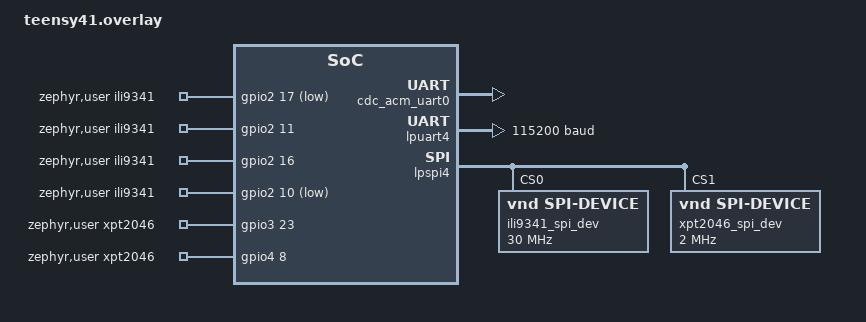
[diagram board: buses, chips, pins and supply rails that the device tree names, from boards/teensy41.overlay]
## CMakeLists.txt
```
# SPDX-License-Identifier: Apache-2.0

cmake_minimum_required(VERSION 3.20.0)
find_package(Zephyr REQUIRED HINTS $ENV{ZEPHYR_BASE})
project(ili9341_touch)

#include(../common/common.cmake)
FILE(GLOB app_sources src/*.cpp  app_sources src/*.c app_sources ../common/src/*.cpp)
target_include_directories(app PRIVATE ../common/include )
target_sources(app PRIVATE ${app_sources})
```

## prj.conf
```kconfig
#CONFIG_STDOUT_CONSOLE=y
CONFIG_USB_DEVICE_STACK=y
CONFIG_USB_DEVICE_PRODUCT="Teensy Serial"
CONFIG_USB_DEVICE_VID=0x16c0
CONFIG_USB_DEVICE_PID=0x0483
CONFIG_LOG=y
CONFIG_USB_DRIVER_LOG_LEVEL_ERR=y
CONFIG_USB_DEVICE_LOG_LEVEL_ERR=y
CONFIG_SERIAL=y

CONFIG_USB_CDC_ACM=y
CONFIG_USB_CDC_ACM_RINGBUF_SIZE=512
CONFIG_UART_LINE_CTRL=y
CONFIG_CDC_ACM_DTE_RATE_CALLBACK_SUPPORT=y


CONFIG_UART_INTERRUPT_DRIVEN=y
CONFIG_USB_DEVICE_INITIALIZE_AT_BOOT=n
CONFIG_GPIO=y
CONFIG_SPI=y
#CONFIG_SPI_ASYNC=y
CONFIG_POLL=y
CONFIG_STATIC_INIT_GNU=y

# Enable uart driver
CONFIG_SERIAL=y

# Console
CONFIG_CONSOLE=y
CONFIG_UART_CONSOLE=y
CONFIG_USB_CDC_ACM_LOG_LEVEL_DBG=n
#CONFIG_USB_DEVICE_STACK_NEXT=y
#CONFIG_SPI_LOG_LEVEL_DBG=y

# INPUT
CONFIG_INPUT=y
```

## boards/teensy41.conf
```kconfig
#CONFIG_STDOUT_CONSOLE=y
CONFIG_USB_DEVICE_STACK=y
CONFIG_USB_DEVICE_PRODUCT="Teensy Serial"
CONFIG_USB_DEVICE_VID=0x16c0
CONFIG_USB_DEVICE_PID=0x0483
CONFIG_LOG=y
CONFIG_USB_DRIVER_LOG_LEVEL_ERR=y
CONFIG_USB_DEVICE_LOG_LEVEL_ERR=y
CONFIG_SERIAL=y

CONFIG_USB_CDC_ACM=y
CONFIG_USB_CDC_ACM_RINGBUF_SIZE=512
CONFIG_UART_LINE_CTRL=y
CONFIG_CDC_ACM_DTE_RATE_CALLBACK_SUPPORT=y


CONFIG_UART_INTERRUPT_DRIVEN=y
CONFIG_USB_DEVICE_INITIALIZE_AT_BOOT=n
CONFIG_GPIO=y
CONFIG_SPI=y
#CONFIG_SPI_ASYNC=y
CONFIG_POLL=y
CONFIG_STATIC_INIT_GNU=y

# Enable uart driver
CONFIG_SERIAL=y

# Console
CONFIG_CONSOLE=y
CONFIG_UART_CONSOLE=y
CONFIG_USB_CDC_ACM_LOG_LEVEL_DBG=n
#CONFIG_USB_DEVICE_STACK_NEXT=y
CONFIG_SPI_LOG_LEVEL_DBG=y

# INPUT
CONFIG_INPUT=y
```

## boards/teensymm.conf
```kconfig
#CONFIG_STDOUT_CONSOLE=y
CONFIG_USB_DEVICE_STACK=y
CONFIG_USB_DEVICE_PRODUCT="Teensy Serial"
CONFIG_USB_DEVICE_VID=0x16c0
CONFIG_USB_DEVICE_PID=0x0483
CONFIG_LOG=y
CONFIG_USB_DRIVER_LOG_LEVEL_ERR=y
CONFIG_USB_DEVICE_LOG_LEVEL_ERR=y
CONFIG_SERIAL=y

CONFIG_USB_CDC_ACM=y
CONFIG_USB_CDC_ACM_RINGBUF_SIZE=512
CONFIG_UART_LINE_CTRL=y
CONFIG_CDC_ACM_DTE_RATE_CALLBACK_SUPPORT=y


CONFIG_UART_INTERRUPT_DRIVEN=y
CONFIG_USB_DEVICE_INITIALIZE_AT_BOOT=n
CONFIG_GPIO=y
CONFIG_SPI=y
CONFIG_SPI_ASYNC=y
CONFIG_POLL=y
CONFIG_STATIC_INIT_GNU=y

# Enable uart driver
CONFIG_SERIAL=y

# Console
CONFIG_CONSOLE=y
CONFIG_UART_CONSOLE=y
CONFIG_USB_CDC_ACM_LOG_LEVEL_DBG=n
#CONFIG_USB_DEVICE_STACK_NEXT=y
#CONFIG_SPI_LOG_LEVEL_DBG=y

# INPUT
CONFIG_INPUT=y
```

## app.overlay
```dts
/*
 * Copyright (c) 2021 Nordic Semiconductor ASA
 *
 * SPDX-License-Identifier: Apache-2.0
 */

&zephyr_udc0 {
	cdc_acm_uart0 {
		compatible = "zephyr,cdc-acm-uart";
		label = "Zephyr USB CDC-ACM";
	};
};


&lpuart4 {
	current-speed = <115200>;
	status = "okay";
};
```

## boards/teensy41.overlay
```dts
/*
 * Copyright (c) 2021 Nordic Semiconductor ASA
 *
 * SPDX-License-Identifier: Apache-2.0
 */

&zephyr_udc0 {
	cdc_acm_uart0 {
		compatible = "zephyr,cdc-acm-uart";
		label = "Zephyr USB CDC-ACM";
	};
};

/ {
	aliases {
	};
	zephyr,user {
		ili9341-gpios = <&gpio2 17 GPIO_ACTIVE_LOW>,	/* CS PIN 7 4.1 */
						<&gpio2 11 GPIO_ACTIVE_HIGH>,	/* DC PIN 9 4.1 */
						<&gpio2 16 GPIO_ACTIVE_HIGH>,	/* RST Pin 8 */
						<&gpio2 10 GPIO_ACTIVE_LOW>;	/* touch cs Pin 6 */

		xpt2046-gpios = <&gpio3 23 GPIO_ACTIVE_HIGH>,
				<&gpio4 8 GPIO_ACTIVE_HIGH>;  // debug pin D5
	};
	chosen {
		//uart,passthrough = &lpuart4; // Teensy pins 7(RX) 8(TX)
		//zephyr,touch = &xpt2046;


	};
};

&lpuart4 {
	current-speed = <115200>;
	status = "okay";
};

&pinctrl {

	/* LPSPI4 MISO, MOSI, SCK, CS on Teensy-Pins 12/11/13/10 */
	pinmux_lpspi4: pinmux_lpspi4 {
		group0 {
			pinmux = <&iomuxc_gpio_b0_03_lpspi4_sck>,
				<&iomuxc_gpio_b0_01_lpspi4_sdi>,
				<&iomuxc_gpio_b0_02_lpspi4_sdo>;
			drive-strength = "r0-6";
			slew-rate = "fast";
			nxp,speed = "100-mhz";
		};
	};
};

&lpspi4 {
	transfer-delay = <50>;
	status = "okay";	
	pinctrl-0 = <&pinmux_lpspi4>;
	pcs-sck-delay= <25>;
	sck-pcs-delay= <25>;
	pinctrl-names = "default";

	//cs-gpios = <&gpio2 17 GPIO_ACTIVE_LOW>, <&gpio2 10 GPIO_ACTIVE_LOW>;
  
	ili9341_spi_dev: ili9341_spi_dev@0 {
		compatible = "vnd,spi-device";
		reg = <0>;
		spi-max-frequency = <30000000>;
	};

	xpt2046_spi_dev: xpt2046_spi_dev@1 {
		compatible = "vnd,spi-device";
		reg = <1>;
		spi-max-frequency = <2000000>;
	};

};
```

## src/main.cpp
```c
/*
 * Copyright (c) 2019 Intel Corporation
 *
 * SPDX-License-Identifier: Apache-2.0
 */

/**
 * @file
 * @brief Sample echo app for CDC ACM class
 *
 * Sample app for USB CDC ACM class driver. The received data is echoed back
 * to the serial port.
 */

//#include <sample_usbd.h>

#include <stdio.h>
#include <string.h>
#include <zephyr/device.h>
#include <zephyr/drivers/uart.h>
#include <zephyr/kernel.h>
#include <zephyr/sys/ring_buffer.h>

#include <zephyr/usb/usb_device.h>
#include <zephyr/usb/usbd.h>
#include <zephyr/logging/log.h>
#include <zephyr/drivers/gpio.h>
#include <zephyr/input/input.h>

LOG_MODULE_REGISTER(main, LOG_LEVEL_INF);
#include "USBSerialDevice.h"

#include "UARTDevice.h"
#include "ILI9341_GIGA_zephyr.h"

#include "XPT2046_Touchscreen.h"

#ifndef CONFIG_BOARD_TEENSY41
#define ATP
//#define PJRC
#endif

const struct device *const usb_uart_dev = DEVICE_DT_GET_ONE(zephyr_cdc_acm_uart);
//const struct device *const serial_dev = DEVICE_DT_GET(DT_CHOSEN(uart_passthrough));
//const struct device *const ili9341_spi =  DEVICE_DT_GET(DT_CHOSEN(spi_ili9341));
#define SPI_OP (SPI_WORD_SET(8) | SPI_OP_MODE_MASTER | SPI_TRANSFER_MSB )

#if defined(ATP)
static struct spi_dt_spec ili9341_spi =
	SPI_DT_SPEC_GET(DT_NODELABEL(ili9341atp_spi_dev), SPI_OP, 0);
#elif defined(PJRC)
static struct spi_dt_spec ili9341_spi =
	SPI_DT_SPEC_GET(DT_NODELABEL(ili9341prjc_spi_dev), SPI_OP, 0);
#else
static struct spi_dt_spec ili9341_spi =
	SPI_DT_SPEC_GET(DT_NODELABEL(ili9341_spi_dev), SPI_OP, 0);
#endif

static struct spi_dt_spec xpt2046_spi =
	SPI_DT_SPEC_GET(DT_NODELABEL(xpt2046_spi_dev), SPI_OP, 0);




inline int min(int a, int b) {
	return (a <= b)? a : b;
}

inline void delay(uint32_t ms) {
	k_sleep(K_MSEC(ms));
}

// Need to do this.
unsigned long micros(void) {
#ifdef CONFIG_TIMER_HAS_64BIT_CYCLE_COUNTER
  return k_cyc_to_us_floor32(k_cycle_get_64());
#else
  return k_cyc_to_us_floor32(k_cycle_get_32());
#endif
 }

#if defined(ATP)
static const struct gpio_dt_spec ili9341_pins[] = {DT_FOREACH_PROP_ELEM_SEP(
    DT_PATH(zephyr_user), ili9341atp_gpios, GPIO_DT_SPEC_GET_BY_IDX, (, ))};
#elif defined(PJRC)
static const struct gpio_dt_spec ili9341_pins[] = {DT_FOREACH_PROP_ELEM_SEP(
    DT_PATH(zephyr_user), ili9341pjrc_gpios, GPIO_DT_SPEC_GET_BY_IDX, (, ))};
#else
static const struct gpio_dt_spec ili9341_pins[] = {DT_FOREACH_PROP_ELEM_SEP(
    DT_PATH(zephyr_user), ili9341_gpios, GPIO_DT_SPEC_GET_BY_IDX, (, ))};
#endif

ILI9341_GIGA_n tft(&ili9341_spi, &ili9341_pins[0], &ili9341_pins[1], &ili9341_pins[2]);

static const struct gpio_dt_spec xpt2046_pins[] = {DT_FOREACH_PROP_ELEM_SEP(
    DT_PATH(zephyr_user), xpt2046_gpios, GPIO_DT_SPEC_GET_BY_IDX, (, ))};

XPT2046_Touchscreen ts(&xpt2046_spi, &xpt2046_pins[0],  &xpt2046_pins[1]);


//=================================================================
// forward references of functions
#define BOXSIZE 40
#define PENRADIUS 3
int oldcolor, currentcolor;

#define TS_MINX 337
#define TS_MINY 529
#define TS_MAXX 3729
#define TS_MAXY 3711

// from teensy cores (map)
#include <type_traits>

// map() transforms input "x" from one numerical range to another.  For example, if
// you have analogInput() from 0 to 1023 and you want 5 to 25, use
// map(x, 0, 1023, 5, 25).  When "x" is an integer, the math is performed using
// integers and an integer number is returned.  When "x" is a floating point number,
// math is performed and result returned as floating point, to allow for fine grain
// mapping.
template <class T, class A, class B, class C, class D>
long map(T _x, A _in_min, B _in_max, C _out_min, D _out_max, typename std::enable_if<std::is_integral<T>::value >::type* = 0)
{
	// when the input number is an integer type, do all math as 32 bit signed long
	long x = _x, in_min = _in_min, in_max = _in_max, out_min = _out_min, out_max = _out_max;
	// Arduino's traditional algorithm
#if 0
	return (x - in_min) * (out_max - out_min) / (in_max - in_min) + out_min;
#endif
#if 0
	// st42's suggestion: https://github.com/arduino/Arduino/issues/2466#issuecomment-69873889
	if ((in_max - in_min) > (out_max - out_min)) {
		return (x - in_min) * (out_max - out_min+1) / (in_max - in_min+1) + out_min;
	} else {
		return (x - in_min) * (out_max - out_min) / (in_max - in_min) + out_min;
	}
#endif
	// first compute the ranges and check if input doesn't matter
	long in_range = in_max - in_min;
	long out_range = out_max - out_min;
	if (in_range == 0) return out_min + out_range / 2;
	// compute the numerator
	long num = (x - in_min) * out_range;
	// before dividing, add extra for proper round off (towards zero)
	if (out_range >= 0) {
		num += in_range / 2;
	} else {
		num -= in_range / 2;
	}
	// divide by input range and add output offset to complete map() compute
	long result = num / in_range + out_min;
	// fix "a strange behaviour with negative numbers" (see ArduinoCore-API issue #51)
	//   this step can be deleted if you don't care about non-linear output
	//   behavior extrapolating slightly beyond the mapped input & output range
	if (out_range >= 0) {
		if (in_range * num < 0) return result - 1;
	} else {
		if (in_range * num >= 0) return result + 1;
	}
	return result;
	// more conversation:
	// https://forum.pjrc.com/threads/44503-map()-function-improvements
}
// map() transforms input "x" from one numerical range to another.  For example, if
extern void WaitForUserInput(uint32_t timeout);



int main(void)
{
	int ret;

	USBSerial.begin();
	//SerialX.begin();
	USBSerial.println("Touch Paint started");

//	USBSerial.print("Print connector pins\n");
//  	for (size_t i = 0; i < ARRAY_SIZE(connector_pins); i++) {
//  		USBSerial.printf("%u %p %u\n", i, connector_pins[i].port, connector_pins[i].pin);
//  	}
  	// Main loop, would be nice if we setup events for the two RX queues, but startof KISS
#if 1
	USBSerial.printf("cs: %p %u %x\n", ili9341_pins[0].port, ili9341_pins[0].pin, ili9341_pins[0].dt_flags);
	USBSerial.printf("dc: %p %u %x\n", ili9341_pins[1].port, ili9341_pins[1].pin, ili9341_pins[1].dt_flags);
	USBSerial.printf("rst: %p %u %x\n",ili9341_pins[2].port, ili9341_pins[2].pin, ili9341_pins[2].dt_flags);
	if (ARRAY_SIZE(ili9341_pins) > 3) {
		USBSerial.printf("touch cs: %p %u %x\n",ili9341_pins[3].port, ili9341_pins[3].pin, ili9341_pins[3].dt_flags);
  		gpio_pin_configure_dt(&ili9341_pins[3], GPIO_OUTPUT_LOW | GPIO_ACTIVE_HIGH);
  		gpio_pin_set_dt(&ili9341_pins[3] , 1);
	}
#endif
	//USBSerial.printf("SPI readdy? %c\n"), spi_is_ready_dt(&ili9341_spi)? 'Y': 'N');
	//USBSerial.printf("SPI readdy? %c\n"), spi_is_ready_dt(&ili9341_spi)? 'Y': 'N');
  // initialize semaphore... used for touch...
  //k_sem_init(&sync, 0, 1);


	tft.setDebugUART(&USBSerial);
	printk("Before tft.begin\n");
	tft.begin();
	tft.setRotation(0);

	printk("Before ts.begin()\n");
	ts.begin();

	printk("Before fill screen calls\n");
	tft.fillScreen(ILI9341_BLACK);
	k_sleep(K_MSEC(500));
	tft.fillScreen(ILI9341_RED);
	k_sleep(K_MSEC(500));
	tft.fillScreen(ILI9341_GREEN);
	k_sleep(K_MSEC(500));
	tft.fillScreen(ILI9341_BLUE);
	k_sleep(K_MSEC(500));
	tft.fillScreen(ILI9341_WHITE);

	uint32_t radius = min(tft.width(), tft.height()) / 2;

	tft.fillCircle(tft.width()/2, tft.height()/2, radius, ILI9341_RED);
	radius -= 20;
	tft.fillCircle(tft.width()/2, tft.height()/2, radius, ILI9341_YELLOW);
	radius -= 20;
	tft.fillCircle(tft.width()/2, tft.height()/2, radius, ILI9341_GREEN);
	radius -= 20;
	tft.fillCircle(tft.width()/2, tft.height()/2, radius, ILI9341_CYAN);
	radius -= 20;
	tft.fillCircle(tft.width()/2, tft.height()/2, radius, ILI9341_BLUE);
	radius -= 20;
	tft.fillCircle(tft.width()/2, tft.height()/2, radius, ILI9341_MAGENTA);
	tft.fillCircle(tft.width()/2, tft.height()/2, 3, ILI9341_WHITE);

	WaitForUserInput(1000);
	tft.fillScreen(ILI9341_BLACK);
	uint32_t t0 = micros();
	tft.fillRectHGradient(10, 10, 100, 100, tft.color565(0 << 3, 0, 0), tft.color565(9 << 3, 0, 0));
	uint32_t t1 = micros();
	tft.fillRectHGradient(130, 10, 100, 100, ILI9341_YELLOW, ILI9341_GREEN);
	uint32_t t2 = micros();
	tft.fillRectVGradient(10, 130, 100, 100, tft.color565(0, 0, 0 << 3), tft.color565(0, 0, 9 << 3));
	uint32_t t3 = micros();
	tft.fillRectVGradient(130, 130, 100, 100, ILI9341_CYAN, ILI9341_BLUE);
	uint32_t t4 = micros();
	USBSerial.printf("%u: %u %u %u %u\n", t4-t0, t1-t0, t2-t1, t3-t2, t4-t3);
	WaitForUserInput(2000);


  tft.fillScreen(ILI9341_BLACK);
  tft.fillRect(0, 0, BOXSIZE, BOXSIZE, ILI9341_RED);
  tft.fillRect(BOXSIZE, 0, BOXSIZE, BOXSIZE, ILI9341_YELLOW);
  tft.fillRect(BOXSIZE * 2, 0, BOXSIZE, BOXSIZE, ILI9341_GREEN);
  tft.fillRect(BOXSIZE * 3, 0, BOXSIZE, BOXSIZE, ILI9341_CYAN);
  tft.fillRect(BOXSIZE * 4, 0, BOXSIZE, BOXSIZE, ILI9341_BLUE);
  tft.fillRect(BOXSIZE * 5, 0, BOXSIZE, BOXSIZE, ILI9341_MAGENTA);


    for (;;) {
    	  // See if there's any  touch data for us
	  	if (ts.bufferEmpty()) {
	  		k_sleep(K_MSEC(5));
	    	continue;
	  	}

	  	// Retrieve a point
	  	TS_Point p = ts.getPoint();

	  	// p is in ILI9341_t3 setOrientation 1 settings. so we need to map x and y differently.
      	if (ts.touched()) {
      		USBSerial.printf("TOUCH (%d, %d, %d)", p.x, p.y, p.z);      
	        // Scale from ~0->4000 to tft.width using the calibration #'s
			#ifdef SCREEN_ORIENTATION_1
			  p.x = map(p.x, TS_MINX, TS_MAXX, 0, tft.width());
			  p.y = map(p.y, TS_MINY, TS_MAXY, 0, tft.height());
			#else
			  
			  uint16_t px = map(p.y, TS_MAXY, TS_MINY, 0, tft.width());
			  p.y = map(p.x, TS_MINX, TS_MAXX, 0, tft.height());
			  p.x = px;
			#endif
			  USBSerial.printf(" (%d %d)\n", p.x, p.y );
			  if (p.y < BOXSIZE) {
			    oldcolor = currentcolor;

			    if (p.x < BOXSIZE) {
			      currentcolor = ILI9341_RED;
			      tft.drawRect(0, 0, BOXSIZE, BOXSIZE, ILI9341_WHITE);
			    } else if (p.x < BOXSIZE * 2) {
			      currentcolor = ILI9341_YELLOW;
			      tft.drawRect(BOXSIZE, 0, BOXSIZE, BOXSIZE, ILI9341_WHITE);
			    } else if (p.x < BOXSIZE * 3) {
			      currentcolor = ILI9341_GREEN;
			      tft.drawRect(BOXSIZE * 2, 0, BOXSIZE, BOXSIZE, ILI9341_WHITE);
			    } else if (p.x < BOXSIZE * 4) {
			      currentcolor = ILI9341_CYAN;
			      tft.drawRect(BOXSIZE * 3, 0, BOXSIZE, BOXSIZE, ILI9341_WHITE);
			    } else if (p.x < BOXSIZE * 5) {
			      currentcolor = ILI9341_BLUE;
			      tft.drawRect(BOXSIZE * 4, 0, BOXSIZE, BOXSIZE, ILI9341_WHITE);
			    } else if (p.x < BOXSIZE * 6) {
			      currentcolor = ILI9341_MAGENTA;
			      tft.drawRect(BOXSIZE * 5, 0, BOXSIZE, BOXSIZE, ILI9341_WHITE);
			    }
			   if (oldcolor != currentcolor) {
			      if (oldcolor == ILI9341_RED)
			        tft.fillRect(0, 0, BOXSIZE, BOXSIZE, ILI9341_RED);
			      if (oldcolor == ILI9341_YELLOW)
			        tft.fillRect(BOXSIZE, 0, BOXSIZE, BOXSIZE, ILI9341_YELLOW);
			      if (oldcolor == ILI9341_GREEN)
			        tft.fillRect(BOXSIZE * 2, 0, BOXSIZE, BOXSIZE, ILI9341_GREEN);
			      if (oldcolor == ILI9341_CYAN)
			        tft.fillRect(BOXSIZE * 3, 0, BOXSIZE, BOXSIZE, ILI9341_CYAN);
			      if (oldcolor == ILI9341_BLUE)
			        tft.fillRect(BOXSIZE * 4, 0, BOXSIZE, BOXSIZE, ILI9341_BLUE);
			      if (oldcolor == ILI9341_MAGENTA)
			        tft.fillRect(BOXSIZE * 5, 0, BOXSIZE, BOXSIZE, ILI9341_MAGENTA);
			    }
			  }
			   if (((p.y - PENRADIUS) > BOXSIZE) && ((p.y + PENRADIUS) < tft.height())) {
			    tft.fillCircle(p.x, p.y, PENRADIUS, currentcolor);
			  }

	  		}
	  	}
	return 0;
}

extern unsigned long millis(void);

void WaitForUserInput(uint32_t timeout) {
    USBSerial.print("Hit key to continue\n");
    uint32_t time_start = millis();
    while ((USBSerial.read() == -1) && ((uint32_t)(millis() - time_start)  < timeout)) ;
    while (USBSerial.read() != -1) ;
    USBSerial.print("Done!\n");
}
```

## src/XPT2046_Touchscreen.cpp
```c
/* Touchscreen library for XPT2046 Touch Controller Chip
 * Copyright (c) 2015, Paul Stoffregen, paul@pjrc.com
 *
 * Permission is hereby granted, free of charge, to any person obtaining a copy
 * of this software and associated documentation files (the "Software"), to deal
 * in the Software without restriction, including without limitation the rights
 * to use, copy, modify, merge, publish, distribute, sublicense, and/or sell
 * copies of the Software, and to permit persons to whom the Software is
 * furnished to do so, subject to the following conditions:
 *
 * The above copyright notice, development funding notice, and this permission
 * notice shall be included in all copies or substantial portions of the Software.
 *
 * THE SOFTWARE IS PROVIDED "AS IS", WITHOUT WARRANTY OF ANY KIND, EXPRESS OR
 * IMPLIED, INCLUDING BUT NOT LIMITED TO THE WARRANTIES OF MERCHANTABILITY,
 * FITNESS FOR A PARTICULAR PURPOSE AND NONINFRINGEMENT. IN NO EVENT SHALL THE
 * AUTHORS OR COPYRIGHT HOLDERS BE LIABLE FOR ANY CLAIM, DAMAGES OR OTHER
 * LIABILITY, WHETHER IN AN ACTION OF CONTRACT, TORT OR OTHERWISE, ARISING FROM,
 * OUT OF OR IN CONNECTION WITH THE SOFTWARE OR THE USE OR OTHER DEALINGS IN
 * THE SOFTWARE.
 */

#include "XPT2046_Touchscreen.h"
#include "USBSerialDevice.h"

#define Z_THRESHOLD     400
#define Z_THRESHOLD_INT	75
#define MSEC_THRESHOLD  3

// Should put this in some of our common stuff.
  enum {LOW=0, HIGH=1};
inline void digitalWrite(const struct gpio_dt_spec *pin, int state) {
    gpio_pin_set_dt(pin, state);
}
unsigned long millis(void) { return k_uptime_get_32(); }



static XPT2046_Touchscreen 	*isrPinptr;

static void xpt2046_isr_handler(const struct device *dev, struct gpio_callback *cb, uint32_t pins);

const struct gpio_dt_spec *XPT2046_Touchscreen::tdbgPin;

bool XPT2046_Touchscreen::begin()
{
	int r;
	//_pspi->begin();
	//#define SPI_SETTING     SPISettings(2000000, MSBFIRST, SPI_MODE0)
	USBSerial.println("Touchscreen::Begin called");
  memcpy(&_config, &_pspi->config, sizeof(_config) );
  memcpy(&_config16, &_pspi->config, sizeof(_config) );
  _config.operation = /*(_config.operation & ~SPI_WORD_SIZE_MASK) | */ SPI_WORD_SET(8);
  _config16.operation = /* (_config16.operation & ~SPI_WORD_SIZE_MASK) | */ SPI_WORD_SET(16);
  _config.frequency = 2000000;
  _config16.frequency = 2000000;
  printk("config: %u %x : %u %x : %u %x\n", _pspi->config.frequency, _pspi->config.operation, 
  		_config.frequency, _config.operation,_config16.frequency, _config16.operation);

//  gpio_pin_configure_dt(csPin, GPIO_OUTPUT_LOW | GPIO_ACTIVE_HIGH);
//	digitalWrite(csPin, HIGH);
	if (tirqPin) {
	  gpio_pin_configure_dt(tirqPin, GPIO_INPUT);
//		attachInterrupt(digitalPinToInterrupt(tirqPin), isrPin, FALLING);
		r = gpio_pin_interrupt_configure_dt(tirqPin, GPIO_INT_EDGE_TO_INACTIVE);
		if (r < 0) {
			printk("Could not configure interrupt GPIO interrupt.\n");
			return false;
		}

		gpio_init_callback(&int_gpio_cb, xpt2046_isr_handler, BIT(tirqPin->pin));

		r = gpio_add_callback(tirqPin->port, &int_gpio_cb);
		if (r < 0) {
			printk("Could not set gpio callback\n");
			return false;
		}

		if (tdbgPin) {
			  gpio_pin_configure_dt(tdbgPin, GPIO_OUTPUT_LOW | GPIO_ACTIVE_HIGH);
  			digitalWrite(tdbgPin, HIGH);
		}

		isrPinptr = this;
	}
	return true;
}



void XPT2046_Touchscreen::xpt2046_isr_handler(const struct device *dev, struct gpio_callback *cb, uint32_t pins)
{
	if (XPT2046_Touchscreen::tdbgPin) digitalWrite(XPT2046_Touchscreen::tdbgPin, LOW);

	XPT2046_Touchscreen *o = isrPinptr;
	o->isrWake = true;
	gpio_remove_callback(o->tirqPin->port, &o->int_gpio_cb);
	//printk("$");
}

TS_Point XPT2046_Touchscreen::getPoint()
{
	update();
	return TS_Point(xraw, yraw, zraw);
}

bool XPT2046_Touchscreen::tirqTouched()
{
	return (isrWake);
}

bool XPT2046_Touchscreen::touched()
{
	update();
	return (zraw >= Z_THRESHOLD);
}

void XPT2046_Touchscreen::readData(uint16_t *x, uint16_t *y, uint8_t *z)
{
	update();
	*x = xraw;
	*y = yraw;
	*z = zraw;
}

bool XPT2046_Touchscreen::bufferEmpty()
{
	return ((millis() - msraw) < MSEC_THRESHOLD);
}

static int16_t besttwoavg( int16_t x , int16_t y , int16_t z ) {
  int16_t da, db, dc;
  int16_t reta = 0;
  if ( x > y ) da = x - y; else da = y - x;
  if ( x > z ) db = x - z; else db = z - x;
  if ( z > y ) dc = z - y; else dc = y - z;

  if ( da <= db && da <= dc ) reta = (x + y) >> 1;
  else if ( db <= da && db <= dc ) reta = (x + z) >> 1;
  else reta = (y + z) >> 1;   //    else if ( dc <= da && dc <= db ) reta = (x + y) >> 1;

  return (reta);
}



void XPT2046_Touchscreen::update()
{
	int16_t data[6];
	int z;
	if (!isrWake) return;
	uint32_t now = millis();
	if (now - msraw < MSEC_THRESHOLD) return;

	// lets try doing the first part with one transfer
	static const uint8_t upd_tx1[] = {0xB1, 0, 0xC1, 0, 0x91};
	uint8_t rx[10];

  struct spi_buf tx_buf = {.buf = (void*)upd_tx1, .len = sizeof(upd_tx1)};
  const struct spi_buf_set tx_buf_set = {.buffers = &tx_buf, .count = 1};
  struct spi_buf rx_buf = {.buf = &rx, .len = tx_buf.len};
  const struct spi_buf_set rx_buf_set = {.buffers = &rx_buf, .count = 1};

  spi_transceive_dt(_pspi, &tx_buf_set, &rx_buf_set);

	int16_t z1 = (int16_t)(((rx[1] << 5)	| rx[2]) >> 3);
	z = z1 + 4095;
	int16_t z2 = (int16_t)(((rx[3] << 5)	| rx[4]) >> 3);
	z -= z2;
	if (z >= Z_THRESHOLD) {
		static const uint8_t upd_tx2[] = { 0, 0x91, 0, 0xD1, 0, 0x91, 0, 0xD1, 0, 0x91};
		tx_buf.buf = (void*)upd_tx2;
		rx_buf.len = tx_buf.len = sizeof(upd_tx2);
  	spi_transceive_dt(_pspi, &tx_buf_set, &rx_buf_set);
  	// first number noisy...
		data[0] = (int16_t)(((rx[2] << 5)	| rx[3]) >> 3);
		data[1] = (int16_t)(((rx[4] << 5)	| rx[5]) >> 3);
		data[2] = (int16_t)(((rx[6] << 5)	| rx[7]) >> 3);
		data[3] = (int16_t)(((rx[8] << 5)	| rx[9]) >> 3);
	}
	else data[0] = data[1] = data[2] = data[3] = 0;	// Compiler warns these values may be used unset on early exit.

	static const uint8_t upd_tx3[] = { 0, 0xD0, 0, 0};
	tx_buf.buf = (void*)upd_tx3;
	rx_buf.len = tx_buf.len = sizeof(upd_tx3);
	spi_transceive_dt(_pspi, &tx_buf_set, &rx_buf_set);
	data[4] = (int16_t)(((rx[0] << 5)	| rx[1]) >> 3);
	data[5] = (int16_t)(((rx[2] << 5)	| rx[3]) >> 3);


	//Serial.printf("z=%d  ::  z1=%d,  z2=%d  ", z, z1, z2);
	if (z < 0) z = 0;
	if (z < Z_THRESHOLD) { //	if ( !touched ) {
		// Serial.println();
		zraw = 0;
		//if (z < Z_THRESHOLD_INT) { //	if ( !touched ) {
			if (tirqPin) isrWake = false;
			gpio_add_callback(tirqPin->port, &int_gpio_cb);
		if (XPT2046_Touchscreen::tdbgPin) digitalWrite(XPT2046_Touchscreen::tdbgPin, HIGH);

		//}
		return;
	}
	zraw = z;
	
	// Average pair with least distance between each measured x then y
	//Serial.printf("    z1=%d,z2=%d  ", z1, z2);
	//Serial.printf("p=%d,  %d,%d  %d,%d  %d,%d", zraw,
		//data[0], data[1], data[2], data[3], data[4], data[5]);
	int16_t x = besttwoavg( data[0], data[2], data[4] );
	int16_t y = besttwoavg( data[1], data[3], data[5] );
	
	//Serial.printf("    %d,%d", x, y);
	//Serial.println();
	if (z >= Z_THRESHOLD) {
		msraw = now;	// good read completed, set wait
		switch (rotation) {
		  case 0:
			xraw = 4095 - y;
			yraw = x;
			break;
		  case 1:
			xraw = x;
			yraw = y;
			break;
		  case 2:
			xraw = y;
			yraw = 4095 - x;
			break;
		  default: // 3
			xraw = 4095 - x;
			yraw = 4095 - y;
		}
	}
}
```

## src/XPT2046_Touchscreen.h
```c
/* Touchscreen library for XPT2046 Touch Controller Chip
 * Copyright (c) 2015, Paul Stoffregen, paul@pjrc.com
 *
 * Permission is hereby granted, free of charge, to any person obtaining a copy
 * of this software and associated documentation files (the "Software"), to deal
 * in the Software without restriction, including without limitation the rights
 * to use, copy, modify, merge, publish, distribute, sublicense, and/or sell
 * copies of the Software, and to permit persons to whom the Software is
 * furnished to do so, subject to the following conditions:
 *
 * The above copyright notice, development funding notice, and this permission
 * notice shall be included in all copies or substantial portions of the Software.
 *
 * THE SOFTWARE IS PROVIDED "AS IS", WITHOUT WARRANTY OF ANY KIND, EXPRESS OR
 * IMPLIED, INCLUDING BUT NOT LIMITED TO THE WARRANTIES OF MERCHANTABILITY,
 * FITNESS FOR A PARTICULAR PURPOSE AND NONINFRINGEMENT. IN NO EVENT SHALL THE
 * AUTHORS OR COPYRIGHT HOLDERS BE LIABLE FOR ANY CLAIM, DAMAGES OR OTHER
 * LIABILITY, WHETHER IN AN ACTION OF CONTRACT, TORT OR OTHERWISE, ARISING FROM,
 * OUT OF OR IN CONNECTION WITH THE SOFTWARE OR THE USE OR OTHER DEALINGS IN
 * THE SOFTWARE.
 */

#ifndef _XPT2046_Touchscreen_h_
#define _XPT2046_Touchscreen_h_

#include <stdio.h>
#include <string.h>
#include <zephyr/device.h>
#include <zephyr/drivers/uart.h>
#include <zephyr/drivers/spi.h>
#include <zephyr/kernel.h>
#include <zephyr/sys/ring_buffer.h>
#include <stdint.h>


class TS_Point {
public:
	TS_Point(void) : x(0), y(0), z(0) {}
	TS_Point(int16_t x, int16_t y, int16_t z) : x(x), y(y), z(z) {}
	bool operator==(TS_Point p) { return ((p.x == x) && (p.y == y) && (p.z == z)); }
	bool operator!=(TS_Point p) { return ((p.x != x) || (p.y != y) || (p.z != z)); }
	int16_t x, y, z;
};

class XPT2046_Touchscreen {
public:
  XPT2046_Touchscreen(struct spi_dt_spec * pspi,  
  	const struct gpio_dt_spec *tirq=nullptr, const struct gpio_dt_spec *tdbg=nullptr)  
		: _pspi(pspi), tirqPin(tirq) {  
			tdbgPin = (struct gpio_dt_spec *)tdbg;
		}
	bool begin();

	TS_Point getPoint();
	bool tirqTouched();
	bool touched();
	void readData(uint16_t *x, uint16_t *y, uint8_t *z);
	bool bufferEmpty();
	uint8_t bufferSize() { return 1; }
	void setRotation(uint8_t n) { rotation = n % 4; }
// protected:
	volatile bool isrWake=true;
	static const struct gpio_dt_spec *tdbgPin;

private:
	void update();
	static void xpt2046_isr_handler(const struct device *dev, struct gpio_callback *cb, uint32_t pins);

  struct spi_dt_spec *  _pspi;
  struct spi_config _config, _config16;
	struct gpio_callback int_gpio_cb;

	const struct gpio_dt_spec *tirqPin;
	uint8_t rotation=1;
	int16_t xraw=0, yraw=0, zraw=0;
	uint32_t msraw=0x80000000;

//	SPIClass *_pspi = nullptr;
};

#endif
```
